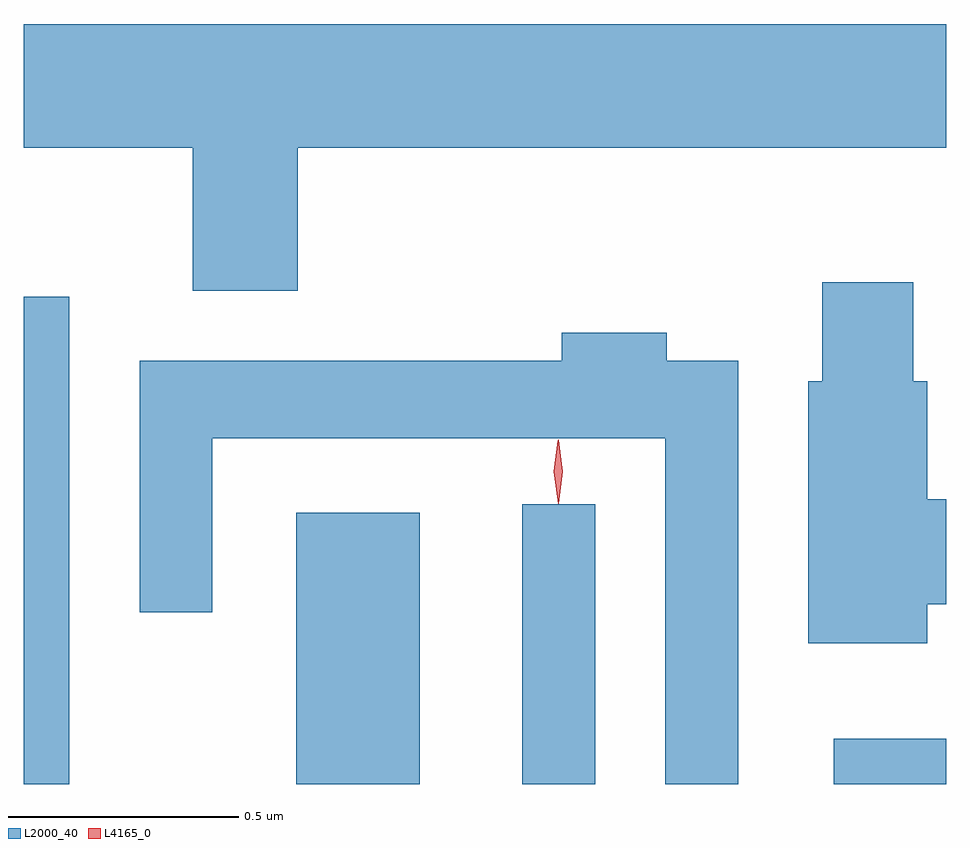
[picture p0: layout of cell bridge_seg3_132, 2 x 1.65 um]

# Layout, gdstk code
import gdstk
lib = gdstk.Library(unit=1e-6, precision=1e-09)
def R(c, l, rs):  # rectangles x0, y0, x1, y1
    for r in rs: c.add(gdstk.rectangle(r[:2], r[2:], *l))
def P(c, l, *ps):  # polygons
    for p in ps: c.add(gdstk.Polygon(p, *l))
L2000_40 = (2000, 40)
L4165_0 = (4165, 0)

bridge_seg3_132 = lib.new_cell('bridge_seg3_132')
R(bridge_seg3_132, L2000_40, [(888.815,1231.196,888.914,1232.253), (889.406,1231.196,889.674,1231.784), (889.896,1231.196,890.054,1231.803), (890.571,1231.196,890.815,1231.294)])
P(bridge_seg3_132, L2000_40, [(889.409,1232.576),(890.815,1232.576),(890.815,1232.844),(888.815,1232.844),(888.815,1232.576),(889.181,1232.576),(889.181,1232.266),(889.409,1232.266)],
  [(890.774,1231.586),(890.815,1231.586),(890.815,1231.814),(890.774,1231.814),(890.774,1232.069),(890.744,1232.069),(890.744,1232.284),(890.546,1232.284),(890.546,1232.069),(890.516,1232.069),(890.516,1231.501),(890.774,1231.501)],
  [(890.364,1232.114),(890.209,1232.114),(890.209,1232.174),(889.981,1232.174),(889.981,1232.114),(889.066,1232.114),(889.066,1231.568),(889.224,1231.568),(889.224,1231.946),(890.206,1231.946),(890.206,1231.196),(890.364,1231.196)])
P(bridge_seg3_132, L4165_0, [(889.974,1231.807),(889.974,1231.808),(889.964,1231.874),(889.973,1231.94),(889.974,1231.94),(889.974,1231.94),(889.984,1231.874),(889.974,1231.808)],
  [(889.974,1231.804),(889.974,1231.804),(889.964,1231.873),(889.974,1231.942),(889.974,1231.943),(889.975,1231.942),(889.984,1231.873),(889.975,1231.804)])

lib.write_gds('bridge_seg3_132.gds')
